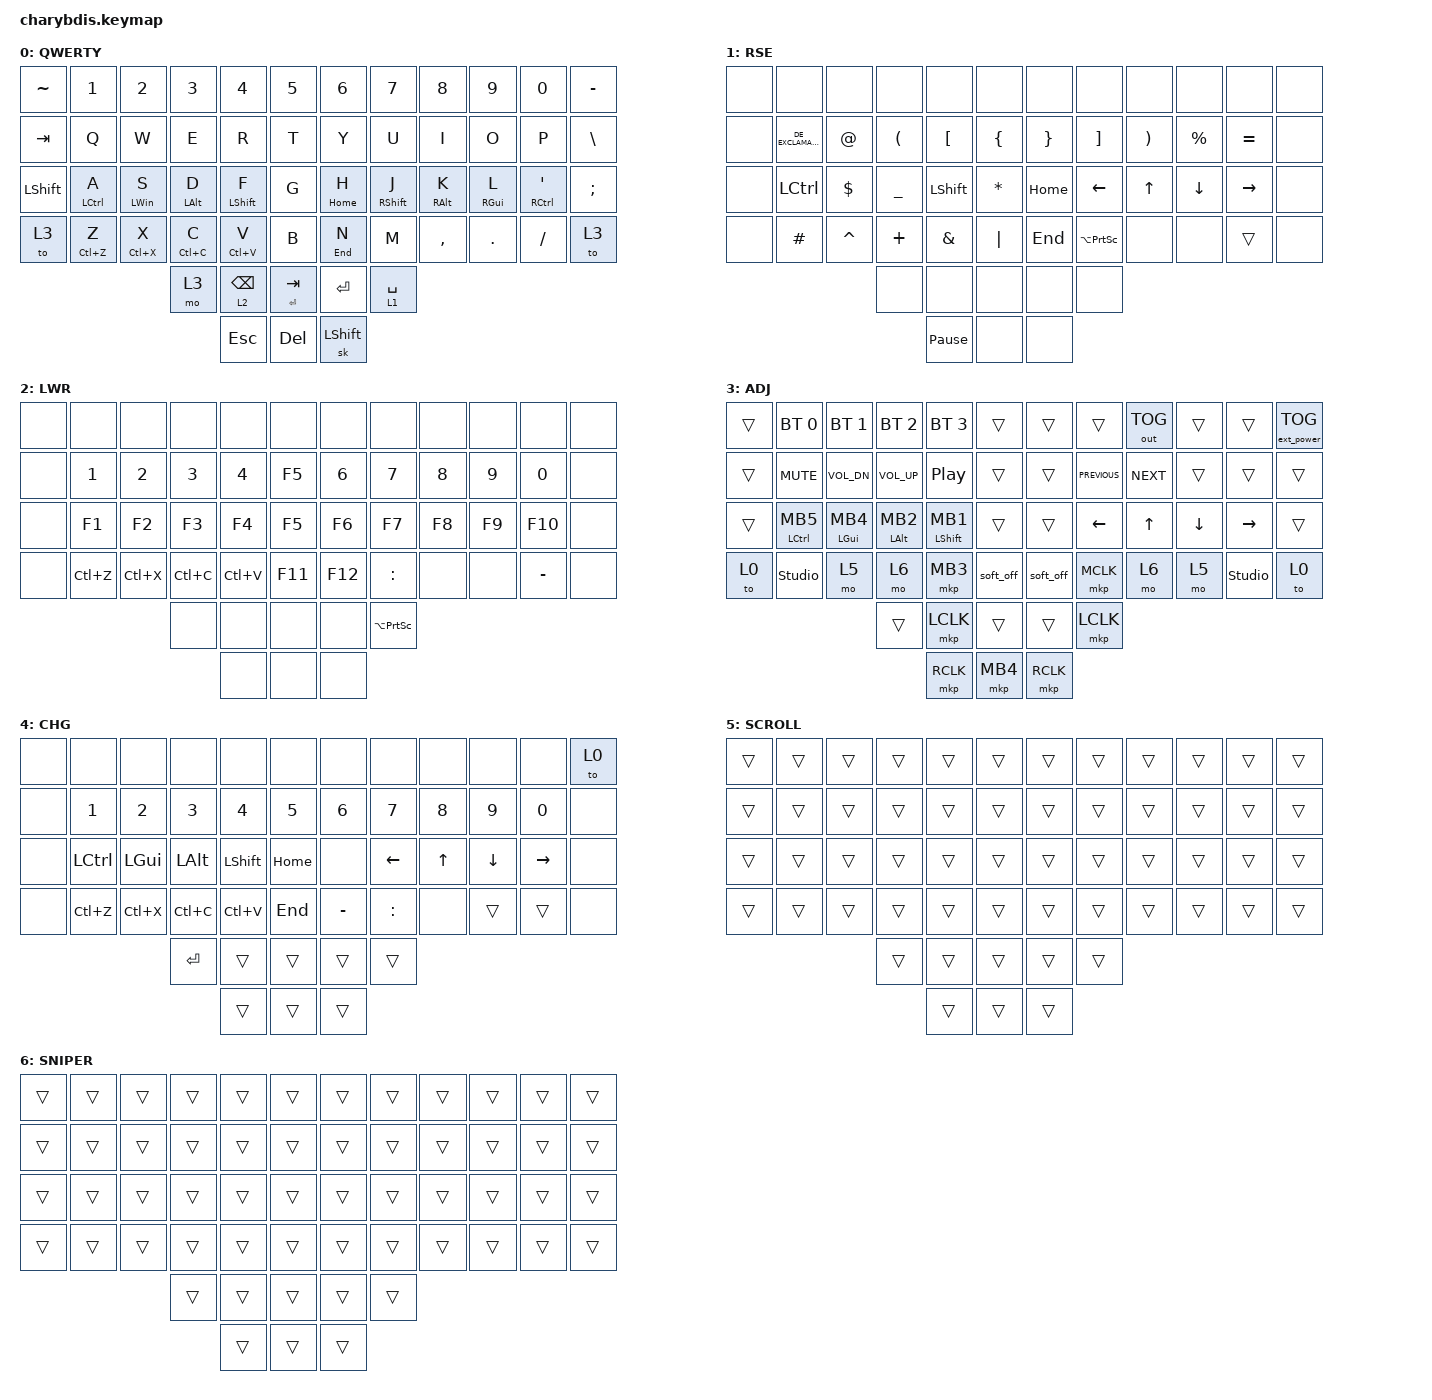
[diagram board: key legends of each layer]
#include "keys_de_swiss.h"
#include <dt-bindings/zmk/mouse.h>
#include <behaviors/mouse_keys.dtsi>
#include <behaviors.dtsi>
#include <dt-bindings/zmk/bt.h>
#include <dt-bindings/zmk/ext_power.h>
#include <dt-bindings/zmk/keys.h>
#include <dt-bindings/zmk/outputs.h>
#include <dt-bindings/zmk/pointing.h>

// / {
//     chosen { zmk,matrix_transform = &default_transform; };
// };

&soft_off { hold-time-ms = <5000>; };

/ {
    /* input config for mouse move mode */

    trackball_listener {
        compatible = "zmk,input-behavior-listener";
        device = <&vtrackball>;
        layers = <0 3 4>;
        evt-type = <INPUT_EV_REL>;
        x-input-code = <INPUT_REL_X>;
        y-input-code = <INPUT_REL_Y>;
        scale-multiplier = <1>;
        scale-divisor = <2>;

        // bindings = <&ib_toggle_layer 7>;
    };

    /* input config for snipe mode */

    trackball_snipe_listener {
        compatible = "zmk,input-behavior-listener";
        device = <&vtrackball>;
        layers = <6>;
        evt-type = <INPUT_EV_REL>;
        x-input-code = <INPUT_REL_X>;
        y-input-code = <INPUT_REL_Y>;
        scale-multiplier = <1>;
        scale-divisor = <4>;
    };

    /* input config for mouse scroll mode */

    trackball_scroll_listener {
        compatible = "zmk,input-behavior-listener";
        device = <&vtrackball>;
        layers = <5>;
        evt-type = <INPUT_EV_REL>;
        x-input-code = <INPUT_REL_MISC>;
        y-input-code = <INPUT_REL_WHEEL>;
        y-invert;
        bindings = <&ib_wheel_scaler 1 14>;
    };

    /* define a resolution down scaler only for INPUT_REL_WHEEL */

    ib_wheel_scaler: ib_wheel_scaler {
        compatible = "zmk,input-behavior-scaler";
        #binding-cells = <2>;
        evt-type = <INPUT_EV_REL>;
        input-code = <INPUT_REL_WHEEL>;
    };

    /* adjust cooldown waiting period for mouse key layer after activated */

    ib_toggle_layer: ib_toggle_layer {
        compatible = "zmk,input-behavior-tog-layer";
        #binding-cells = <1>;
        time-to-live-ms = <750>;
    };

    // #define QWERTY    0
    // #define RAISE     1
    // #define LOWER     2
    // #define ADJUST    3
    // #define CHANGE    4
    // #define SCROLL    5
    // #define SNIPER    6

    combos {
        compatible = "zmk,combos";

        to-WIN {
            bindings = <&to 0>;
            key-positions = <50 51>;
            layers = <4>;
        };

        to-Change {
            bindings = <&to 4>;
            key-positions = <47 36>;
            layers = <0>;
        };

        rh_leftClick {
            bindings = <&mkp LCLK>;
            key-positions = <43 44>;
        };

        rh_rightClick {
            bindings = <&mkp RCLK>;
            key-positions = <44 45>;
        };

        rh_middleClick {
            bindings = <&mkp MCLK>;
            key-positions = <44 45 43>;
        };

        lh_leftClick {
            bindings = <&mkp LCLK>;
            key-positions = <40 39>;
        };

        lh_rightClick {
            bindings = <&mkp RCLK>;
            key-positions = <38 39>;
        };

        lh_middleClick {
            bindings = <&mkp MCLK>;
            key-positions = <38 39 40>;
        };

        select_all {
            bindings = <&kp LC(A)>;
            key-positions = <13 14>;
            layers = <0 4>;
        };
    };

    behaviors {
        hmr: hmr {
            compatible = "zmk,behavior-hold-tap";
            label = "HMR";
            bindings = <&kp>, <&kp>;

            #binding-cells = <2>;
            tapping-term-ms = <190>;
            quick-tap-ms = <175>;
            flavor = "balanced";
            hold-trigger-key-positions = <0 1 2 3 4 5 12 13 14 15 16 17 24 25 26 27 28 29 36 37 38 39 40 41 48 49 50 53 54 51 52 55>;
            hold-trigger-on-release;
        };

        hml: hml {
            compatible = "zmk,behavior-hold-tap";
            label = "HML";
            bindings = <&kp>, <&kp>;

            #binding-cells = <2>;
            tapping-term-ms = <190>;
            quick-tap-ms = <175>;
            flavor = "balanced";
            hold-trigger-key-positions = <48 49 50 53 54 51 52 55 6 7 8 9 10 11 18 19 20 21 22 23 30 31 32 33 34 35 42 43 44 45 46 47 51 52>;
            hold-trigger-on-release;
        };

        mse: mse {
            compatible = "zmk,behavior-hold-tap";
            label = "MSE";
            bindings = <&kp>, <&mkp>;

            #binding-cells = <2>;
            tapping-term-ms = <200>;
            hold-trigger-on-release;
            flavor = "tap-preferred";
            hold-while-undecided;
        };
    };

    keymap {
        compatible = "zmk,keymap";

        base_layer {
            bindings = <
&kp TILDE       &kp N1               &kp N2           &kp N3           &kp N4             &kp N5         &kp N6      &kp N7              &kp N8            &kp N9            &kp N0                   &kp MINUS
&kp TAB         &kp Q                &kp W            &kp E            &kp R              &kp T          &kp Y       &kp U               &kp I             &kp O             &kp P                    &kp BACKSLASH
&kp LEFT_SHIFT  &hml LEFT_CONTROL A  &hml LEFT_WIN S  &hml LEFT_ALT D  &hml LEFT_SHIFT F  &kp G          &mt HOME H  &hmr RIGHT_SHIFT J  &hmr RIGHT_ALT K  &hmr RIGHT_GUI L  &hmr RIGHT_CONTROL APOS  &kp SEMICOLON
&to 3           &mt LC(Z) Z          &mt LC(X) X      &mt LC(C) C      &mt LC(V) V        &kp B          &mt END N   &kp M               &kp COMMA         &kp DOT           &kp SLASH                &to 3
                                                      &mo 3            &lt 2 BSPC         &mt RET TAB    &kp RET     &lt 1 SPACE
                                                                       &kp ESCAPE         &kp DELETE     &sk LSHFT
            >;

            label = "QWERTY";
        };

        raise_layer {
            bindings = <
&none  &none               &none       &none                 &none             &none             &none            &none                &none                  &none        &none            &none
&none  &kp DE_EXCLAMATION  &kp AT      &kp LEFT_PARENTHESIS  &kp LEFT_BRACKET  &kp LEFT_BRACE    &kp RIGHT_BRACE  &kp RIGHT_BRACKET    &kp RIGHT_PARENTHESIS  &kp PERCENT  &kp EQUAL        &none
&none  &kp LEFT_CONTROL    &kp DOLLAR  &kp UNDER             &kp LEFT_SHIFT    &kp ASTRK         &kp HOME         &kp LEFT_ARROW       &kp UP                 &kp DOWN     &kp RIGHT_ARROW  &none
&none  &kp POUND           &kp CARET   &kp PLUS              &kp AMPS          &kp PIPE          &kp END          &kp LA(PRINTSCREEN)  &none                  &none        &trans           &none
                                       &none                 &none             &none             &none            &none
                                                             &kp PAUSE_BREAK   &none             &none
            >;

            label = "RSE";
        };

        lower_layer {
            bindings = <
&none  &none         &none         &none         &none         &none      &none    &none                &none         &none         &none         &none
&none  &kp NUMBER_1  &kp NUMBER_2  &kp NUMBER_3  &kp NUMBER_4  &kp F5     &kp N6   &kp NUMBER_7         &kp NUMBER_8  &kp NUMBER_9  &kp NUMBER_0  &none
&none  &kp F1        &kp F2        &kp F3        &kp F4        &kp F5     &kp F6   &kp F7               &kp F8        &kp F9        &kp F10       &none
&none  &kp LC(Z)     &kp LC(X)     &kp LC(C)     &kp LC(V)     &kp F11    &kp F12  &kp COLON            &none         &none         &kp MINUS     &none
                                   &none         &none         &none      &none    &kp LA(PRINTSCREEN)
                                                 &none         &none      &none
            >;

            label = "LWR";
        };

        adjust_layer {
            bindings = <
&trans  &bt BT_SEL 0           &bt BT_SEL 1       &bt BT_SEL 2       &bt BT_SEL 3         &trans       &trans     &trans          &out OUT_TOG  &trans    &trans          &ext_power EP_TOG
&trans  &kp C_MUTE             &kp C_VOL_DN       &kp C_VOLUME_UP    &kp C_PLAY_PAUSE     &trans       &trans     &kp C_PREVIOUS  &kp C_NEXT    &trans    &trans          &trans
&trans  &mse LEFT_CONTROL MB5  &mse LEFT_GUI MB4  &mse LEFT_ALT MB2  &mse LEFT_SHIFT MB1  &trans       &trans     &kp LEFT        &kp UP        &kp DOWN  &kp RIGHT       &trans
&to 0   &studio_unlock         &mo 5              &mo 6              &mkp MB3             &soft_off    &soft_off  &mkp MCLK       &mo 6         &mo 5     &studio_unlock  &to 0
                                                  &trans             &mkp LCLK            &trans       &trans     &mkp LCLK
                                                                     &mkp RCLK            &mkp MB4     &mkp RCLK
            >;

            label = "ADJ";
        };

        change_layer {
            label = "CHG";
            bindings = <
&none  &none         &none         &none         &none         &none           &none         &none           &none         &none           &none         &to 0
&none  &kp NUMBER_1  &kp NUMBER_2  &kp NUMBER_3  &kp NUMBER_4  &kp NUMBER_5    &kp NUMBER_6  &kp NUMBER_7    &kp NUMBER_8  &kp NUMBER_9    &kp NUMBER_0  &none
&none  &kp LCTRL     &kp LEFT_GUI  &kp LEFT_ALT  &kp LSHFT     &kp HOME        &none         &kp LEFT_ARROW  &kp UP        &kp DOWN_ARROW  &kp RIGHT     &none
&none  &kp LC(Z)     &kp LC(X)     &kp LC(C)     &kp LC(V)     &kp END         &kp MINUS     &kp COLON       &none         &trans          &trans        &none
                                   &kp RET       &trans        &trans          &trans        &trans
                                                 &trans        &trans          &trans
            >;
        };

        scroll_layer {
            bindings = <
&trans  &trans  &trans  &trans  &trans  &trans    &trans  &trans  &trans  &trans  &trans  &trans
&trans  &trans  &trans  &trans  &trans  &trans    &trans  &trans  &trans  &trans  &trans  &trans
&trans  &trans  &trans  &trans  &trans  &trans    &trans  &trans  &trans  &trans  &trans  &trans
&trans  &trans  &trans  &trans  &trans  &trans    &trans  &trans  &trans  &trans  &trans  &trans
                        &trans  &trans  &trans    &trans  &trans
                                &trans  &trans    &trans
            >;

            label = "SCROLL";
        };

        sniper_layer {
            label = "SNIPER";
            bindings = <
&trans  &trans  &trans  &trans  &trans  &trans    &trans  &trans  &trans  &trans  &trans  &trans
&trans  &trans  &trans  &trans  &trans  &trans    &trans  &trans  &trans  &trans  &trans  &trans
&trans  &trans  &trans  &trans  &trans  &trans    &trans  &trans  &trans  &trans  &trans  &trans
&trans  &trans  &trans  &trans  &trans  &trans    &trans  &trans  &trans  &trans  &trans  &trans
                        &trans  &trans  &trans    &trans  &trans
                                &trans  &trans    &trans
            >;
        };
    };

    conditional_layers {
        compatible = "zmk,conditional-layers";

        ADJ {
            if-layers = <1 2>;
            then-layer = <3>;
        };
    };
};
